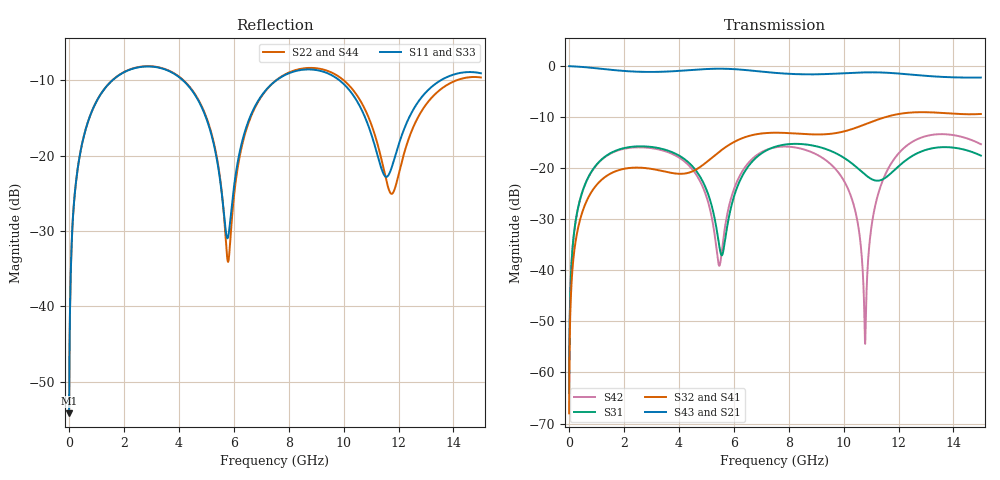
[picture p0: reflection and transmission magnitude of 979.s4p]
! Created with skrf 1.8.0 (http://scikit-rf.org).
# GHz S RI R 50.0
!freq ReS11 ImS11 ReS12 ImS12 ReS13 ImS13
! ReS14 ImS14
! ReS21 ImS21 ReS22 ImS22 ReS23 ImS23
! ReS24 ImS24
! ReS31 ImS31 ReS32 ImS32 ReS33 ImS33
! ReS34 ImS34
! ReS41 ImS41 ReS42 ImS42 ReS43 ImS43
! ReS44 ImS44
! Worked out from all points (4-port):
!   2499 points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, 5 MHz to 15 GHz, reference 50 ohm
!   strongest paths, dB at 5 MHz, 3.476 GHz, 7.19 GHz, 11.1 GHz, 15 GHz:
!     S43: 0.0, -1.1, -1.2, -1.2, -2.2
!     S21: 0.0, -1.1, -1.2, -1.2, -2.3
!     S32: -68.0, -20.6, -13.1, -10.8, -9.4
!     S41: -68.0, -20.7, -13.1, -10.8, -9.4
!     S31: -64.0, -16.3, -16.5, -22.3, -17.5
!     S42: -64.0, -16.6, -16.4, -28.7, -15.3
!   lowest |S11| = -54.2 dB at 5 MHz (marker M1), VSWR 1.00, Z = 50.2 + j0.118 ohm
!   |S11| at or under -10 dB: start of sweep to 1.586 GHz; 4.145 GHz to 7.556 GHz (3.411 GHz wide, 58.3 % of centre); 9.845 GHz to 13.54 GHz (3.7 GHz wide, 31.6 % of centre)
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0.005  0.00155 0.00118  0.9984 -0.00302  7.8e-05 0.000626  -7.57e-05 -0.000391
       0.9984 -0.00302  0.00155 0.00118  -7.57e-05 -0.000391  7.79e-05 0.000626
       7.8e-05 0.000626  -7.57e-05 -0.000391  0.00155 0.00118  0.9984 -0.00302
       -7.57e-05 -0.000391  7.79e-05 0.000626  0.9984 -0.00302  0.00155 0.00118
1.569404  0.2552 0.1833  0.5788 -0.7118  0.128 0.0639  -0.0894 -0.0111
          0.5788 -0.7118  0.2567 0.1823  -0.0896 -0.0108  0.123 0.0702
          0.128 0.0639  -0.0896 -0.0108  0.2551 0.1834  0.5787 -0.7118
          -0.0894 -0.0111  0.123 0.0702  0.5787 -0.7118  0.2569 0.1822
5.796165  0.0284 0.00523  -0.9376 -0.0624  -0.00507 0.0299  -0.00848 0.1669
          -0.9376 -0.0624  0.0197 0.000174  -0.00395 0.167  0.0181 0.0346
          -0.00507 0.0299  -0.00395 0.167  0.0302 0.00428  -0.9376 -0.0625
          -0.00848 0.1669  0.0181 0.0346  -0.9376 -0.0625  0.0182 -0.0007
9.041267  0.3665 -0.038  0.0272 0.8311  0.1141 -0.1166  0.2037 -0.0583
          0.0272 0.8311  0.3765 -0.0442  0.2032 -0.0675  0.1176 -0.0668
          0.1141 -0.1166  0.2032 -0.0675  0.3659 -0.0376  0.028 0.8308
          0.2037 -0.0583  0.1176 -0.0668  0.028 0.8308  0.3783 -0.045
10.78574  0.1314 -0.1211  0.7035 0.509  -0.0679 -0.0536  0.1578 -0.2178
          0.7035 0.509  0.1327 -0.1515  0.1463 -0.2258  -0.00191 -0.000109
          -0.0679 -0.0536  0.1463 -0.2258  0.1348 -0.1217  0.7035 0.5082
          0.1578 -0.2178  -0.00191 -0.000109  0.7035 0.5082  0.1327 -0.1543
11.83618  0.0812 0.0461  0.852 0.0269  -0.0248 0.0918  0.00731 -0.3323
          0.852 0.0269  0.0574 0.00982  -0.00946 -0.3324  0.0627 0.1053
          -0.0248 0.0918  -0.00946 -0.3324  0.0838 0.0406  0.8521 0.0263
          0.00731 -0.3323  0.0627 0.1053  0.8521 0.0263  0.0566 0.00823
15  0.3483 -0.0477  -0.00643 -0.7711  0.07 -0.113  -0.3357 0.0333
    -0.00643 -0.7711  0.3292 -0.02  -0.3348 0.0579  0.0834 -0.1503
    0.07 -0.113  -0.3348 0.0579  0.3418 -0.0463  -0.01 -0.7726
    -0.3357 0.0333  0.0834 -0.1503  -0.01 -0.7726  0.3272 -0.0253
